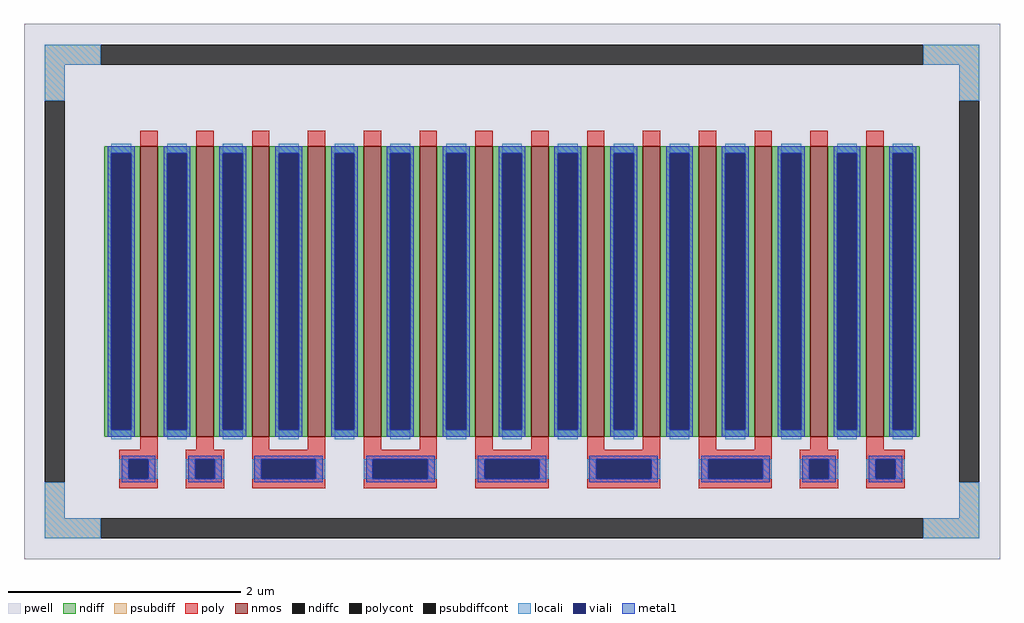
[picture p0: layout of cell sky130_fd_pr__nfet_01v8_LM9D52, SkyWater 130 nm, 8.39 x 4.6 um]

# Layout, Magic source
magic
tech sky130A
magscale 1 2
<< pwell >>
rect -839 -460 839 460
<< nmos >>
rect -639 -250 -609 250
rect -543 -250 -513 250
rect -447 -250 -417 250
rect -351 -250 -321 250
rect -255 -250 -225 250
rect -159 -250 -129 250
rect -63 -250 -33 250
rect 33 -250 63 250
rect 129 -250 159 250
rect 225 -250 255 250
rect 321 -250 351 250
rect 417 -250 447 250
rect 513 -250 543 250
rect 609 -250 639 250
<< ndiff >>
rect -701 238 -639 250
rect -701 -238 -689 238
rect -655 -238 -639 238
rect -701 -250 -639 -238
rect -609 238 -543 250
rect -609 -238 -593 238
rect -559 -238 -543 238
rect -609 -250 -543 -238
rect -513 238 -447 250
rect -513 -238 -497 238
rect -463 -238 -447 238
rect -513 -250 -447 -238
rect -417 238 -351 250
rect -417 -238 -401 238
rect -367 -238 -351 238
rect -417 -250 -351 -238
rect -321 238 -255 250
rect -321 -238 -305 238
rect -271 -238 -255 238
rect -321 -250 -255 -238
rect -225 238 -159 250
rect -225 -238 -209 238
rect -175 -238 -159 238
rect -225 -250 -159 -238
rect -129 238 -63 250
rect -129 -238 -113 238
rect -79 -238 -63 238
rect -129 -250 -63 -238
rect -33 238 33 250
rect -33 -238 -17 238
rect 17 -238 33 238
rect -33 -250 33 -238
rect 63 238 129 250
rect 63 -238 79 238
rect 113 -238 129 238
rect 63 -250 129 -238
rect 159 238 225 250
rect 159 -238 175 238
rect 209 -238 225 238
rect 159 -250 225 -238
rect 255 238 321 250
rect 255 -238 271 238
rect 305 -238 321 238
rect 255 -250 321 -238
rect 351 238 417 250
rect 351 -238 367 238
rect 401 -238 417 238
rect 351 -250 417 -238
rect 447 238 513 250
rect 447 -238 463 238
rect 497 -238 513 238
rect 447 -250 513 -238
rect 543 238 609 250
rect 543 -238 559 238
rect 593 -238 609 238
rect 543 -250 609 -238
rect 639 238 701 250
rect 639 -238 655 238
rect 689 -238 701 238
rect 639 -250 701 -238
<< ndiffc >>
rect -689 -238 -655 238
rect -593 -238 -559 238
rect -497 -238 -463 238
rect -401 -238 -367 238
rect -305 -238 -271 238
rect -209 -238 -175 238
rect -113 -238 -79 238
rect -17 -238 17 238
rect 79 -238 113 238
rect 175 -238 209 238
rect 271 -238 305 238
rect 367 -238 401 238
rect 463 -238 497 238
rect 559 -238 593 238
rect 655 -238 689 238
<< psubdiff >>
rect -803 390 -707 424
rect 707 390 803 424
rect -803 328 -769 390
rect 769 328 803 390
rect -803 -390 -769 -328
rect 769 -390 803 -328
rect -803 -424 -707 -390
rect 707 -424 803 -390
<< psubdiffcont >>
rect -707 390 707 424
rect -803 -328 -769 328
rect 769 -328 803 328
rect -707 -424 707 -390
<< poly >>
rect -639 250 -609 276
rect -543 250 -513 276
rect -447 250 -417 276
rect -351 250 -321 276
rect -255 250 -225 276
rect -159 250 -129 276
rect -63 250 -33 276
rect 33 250 63 276
rect 129 250 159 276
rect 225 250 255 276
rect 321 250 351 276
rect 417 250 447 276
rect 513 250 543 276
rect 609 250 639 276
rect -639 -272 -609 -250
rect -543 -272 -513 -250
rect -447 -272 -417 -250
rect -351 -272 -321 -250
rect -675 -288 -609 -272
rect -675 -322 -659 -288
rect -625 -322 -609 -288
rect -675 -338 -609 -322
rect -561 -288 -495 -272
rect -561 -322 -545 -288
rect -511 -322 -495 -288
rect -561 -338 -495 -322
rect -447 -288 -321 -272
rect -447 -322 -431 -288
rect -337 -322 -321 -288
rect -447 -338 -321 -322
rect -255 -272 -225 -250
rect -159 -272 -129 -250
rect -255 -288 -129 -272
rect -255 -322 -239 -288
rect -145 -322 -129 -288
rect -255 -338 -129 -322
rect -63 -272 -33 -250
rect 33 -272 63 -250
rect -63 -288 63 -272
rect -63 -322 -47 -288
rect 47 -322 63 -288
rect -63 -338 63 -322
rect 129 -272 159 -250
rect 225 -272 255 -250
rect 129 -288 255 -272
rect 129 -322 145 -288
rect 239 -322 255 -288
rect 129 -338 255 -322
rect 321 -272 351 -250
rect 417 -272 447 -250
rect 513 -272 543 -250
rect 609 -272 639 -250
rect 321 -288 447 -272
rect 321 -322 337 -288
rect 431 -322 447 -288
rect 321 -338 447 -322
rect 495 -288 561 -272
rect 495 -322 511 -288
rect 545 -322 561 -288
rect 495 -338 561 -322
rect 609 -288 675 -272
rect 609 -322 625 -288
rect 659 -322 675 -288
rect 609 -338 675 -322
<< polycont >>
rect -659 -322 -625 -288
rect -545 -322 -511 -288
rect -431 -322 -337 -288
rect -239 -322 -145 -288
rect -47 -322 47 -288
rect 145 -322 239 -288
rect 337 -322 431 -288
rect 511 -322 545 -288
rect 625 -322 659 -288
<< locali >>
rect -803 390 -707 424
rect 707 390 803 424
rect -803 328 -769 390
rect 769 328 803 390
rect -689 238 -655 254
rect -689 -254 -655 -238
rect -593 238 -559 254
rect -593 -254 -559 -238
rect -497 238 -463 254
rect -497 -254 -463 -238
rect -401 238 -367 254
rect -401 -254 -367 -238
rect -305 238 -271 254
rect -305 -254 -271 -238
rect -209 238 -175 254
rect -209 -254 -175 -238
rect -113 238 -79 254
rect -113 -254 -79 -238
rect -17 238 17 254
rect -17 -254 17 -238
rect 79 238 113 254
rect 79 -254 113 -238
rect 175 238 209 254
rect 175 -254 209 -238
rect 271 238 305 254
rect 271 -254 305 -238
rect 367 238 401 254
rect 367 -254 401 -238
rect 463 238 497 254
rect 463 -254 497 -238
rect 559 238 593 254
rect 559 -254 593 -238
rect 655 238 689 254
rect 655 -254 689 -238
rect -675 -322 -659 -288
rect -625 -322 -609 -288
rect -561 -322 -545 -288
rect -511 -322 -495 -288
rect -447 -322 -431 -288
rect -337 -322 -321 -288
rect -255 -322 -239 -288
rect -145 -322 -129 -288
rect -63 -322 -47 -288
rect 47 -322 63 -288
rect 129 -322 145 -288
rect 239 -322 255 -288
rect 321 -322 337 -288
rect 431 -322 447 -288
rect 495 -322 511 -288
rect 545 -322 561 -288
rect 609 -322 625 -288
rect 659 -322 675 -288
rect -803 -390 -769 -328
rect 769 -390 803 -328
rect -803 -424 -707 -390
rect 707 -424 803 -390
<< viali >>
rect -689 -238 -655 238
rect -593 -238 -559 238
rect -497 -238 -463 238
rect -401 -238 -367 238
rect -305 -238 -271 238
rect -209 -238 -175 238
rect -113 -238 -79 238
rect -17 -238 17 238
rect 79 -238 113 238
rect 175 -238 209 238
rect 271 -238 305 238
rect 367 -238 401 238
rect 463 -238 497 238
rect 559 -238 593 238
rect 655 -238 689 238
rect -659 -322 -625 -288
rect -545 -322 -511 -288
rect -431 -322 -337 -288
rect -239 -322 -145 -288
rect -47 -322 47 -288
rect 145 -322 239 -288
rect 337 -322 431 -288
rect 511 -322 545 -288
rect 625 -322 659 -288
<< metal1 >>
rect -695 238 -649 250
rect -695 -238 -689 238
rect -655 -238 -649 238
rect -695 -250 -649 -238
rect -599 238 -553 250
rect -599 -238 -593 238
rect -559 -238 -553 238
rect -599 -250 -553 -238
rect -503 238 -457 250
rect -503 -238 -497 238
rect -463 -238 -457 238
rect -503 -250 -457 -238
rect -407 238 -361 250
rect -407 -238 -401 238
rect -367 -238 -361 238
rect -407 -250 -361 -238
rect -311 238 -265 250
rect -311 -238 -305 238
rect -271 -238 -265 238
rect -311 -250 -265 -238
rect -215 238 -169 250
rect -215 -238 -209 238
rect -175 -238 -169 238
rect -215 -250 -169 -238
rect -119 238 -73 250
rect -119 -238 -113 238
rect -79 -238 -73 238
rect -119 -250 -73 -238
rect -23 238 23 250
rect -23 -238 -17 238
rect 17 -238 23 238
rect -23 -250 23 -238
rect 73 238 119 250
rect 73 -238 79 238
rect 113 -238 119 238
rect 73 -250 119 -238
rect 169 238 215 250
rect 169 -238 175 238
rect 209 -238 215 238
rect 169 -250 215 -238
rect 265 238 311 250
rect 265 -238 271 238
rect 305 -238 311 238
rect 265 -250 311 -238
rect 361 238 407 250
rect 361 -238 367 238
rect 401 -238 407 238
rect 361 -250 407 -238
rect 457 238 503 250
rect 457 -238 463 238
rect 497 -238 503 238
rect 457 -250 503 -238
rect 553 238 599 250
rect 553 -238 559 238
rect 593 -238 599 238
rect 553 -250 599 -238
rect 649 238 695 250
rect 649 -238 655 238
rect 689 -238 695 238
rect 649 -250 695 -238
rect -671 -288 -613 -282
rect -671 -322 -659 -288
rect -625 -322 -613 -288
rect -671 -328 -613 -322
rect -557 -288 -499 -282
rect -557 -322 -545 -288
rect -511 -322 -499 -288
rect -557 -328 -499 -322
rect -443 -288 -325 -282
rect -443 -322 -431 -288
rect -337 -322 -325 -288
rect -443 -328 -325 -322
rect -251 -288 -133 -282
rect -251 -322 -239 -288
rect -145 -322 -133 -288
rect -251 -328 -133 -322
rect -59 -288 59 -282
rect -59 -322 -47 -288
rect 47 -322 59 -288
rect -59 -328 59 -322
rect 133 -288 251 -282
rect 133 -322 145 -288
rect 239 -322 251 -288
rect 133 -328 251 -322
rect 325 -288 443 -282
rect 325 -322 337 -288
rect 431 -322 443 -288
rect 325 -328 443 -322
rect 499 -288 557 -282
rect 499 -322 511 -288
rect 545 -322 557 -288
rect 499 -328 557 -322
rect 613 -288 671 -282
rect 613 -322 625 -288
rect 659 -322 671 -288
rect 613 -328 671 -322
<< properties >>
string FIXED_BBOX -786 -407 786 407
string gencell sky130_fd_pr__nfet_01v8
string library sky130
string parameters w 2.5 l 0.150 m 1 nf 14 diffcov 100 polycov 100 guard 1 glc 1 grc 1 gtc 1 gbc 1 tbcov 100 rlcov 100 topc 1 botc 1 poverlap 0 doverlap 1 lmin 0.15 wmin 0.42 compatible {sky130_fd_pr__nfet_01v8 sky130_fd_pr__nfet_01v8_lvt  sky130_fd_bs_flash__special_sonosfet_star  sky130_fd_pr__nfet_g5v0d10v5 sky130_fd_pr__nfet_05v0_nvt  sky130_fd_pr__nfet_03v3_nvt} full_metal 1 viasrc 100 viadrn 100 viagate 100 viagb 0 viagr 0 viagl 0 viagt 0
<< end >>
